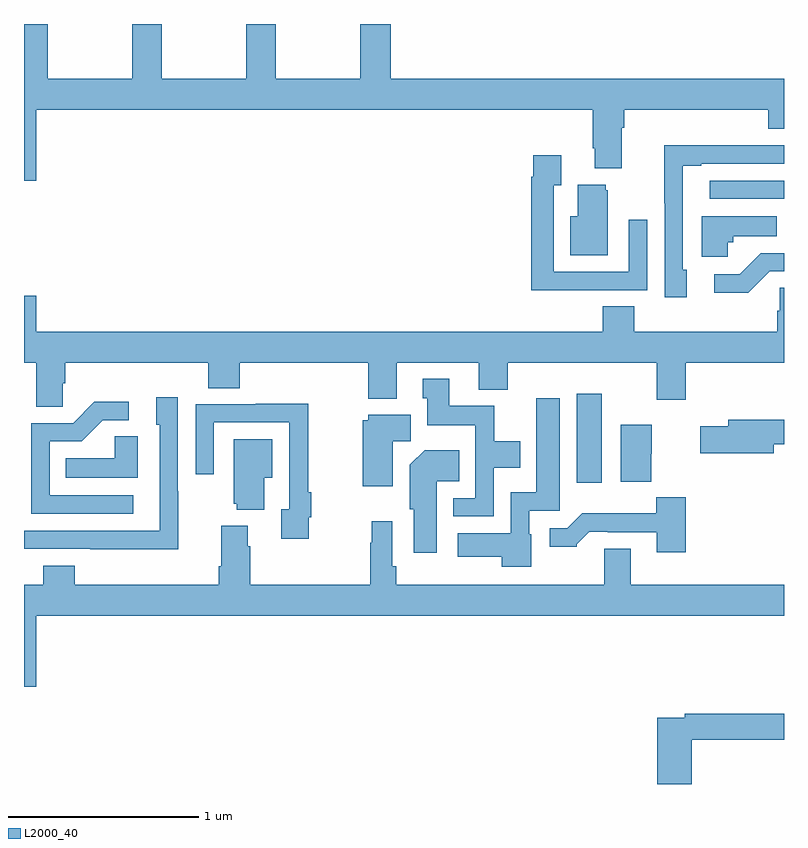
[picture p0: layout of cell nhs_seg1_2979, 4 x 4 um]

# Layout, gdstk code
import gdstk
lib = gdstk.Library(unit=1e-6, precision=1e-09)
def R(c, l, rs):  # rectangles x0, y0, x1, y1
    for r in rs: c.add(gdstk.rectangle(r[:2], r[2:], *l))
def P(c, l, *ps):  # polygons
    for p in ps: c.add(gdstk.Polygon(p, *l))
L2000_40 = (2000, 40)

nhs_seg1_2979 = lib.new_cell('nhs_seg1_2979')
R(nhs_seg1_2979, L2000_40, [(275.909,533.784,276.04,534.253), (276.609,535.278,277,535.374)])
P(nhs_seg1_2979, L2000_40, [(273.064,535.748),(275.993,535.748),(275.993,535.546),(276.005,535.546),(276.005,535.439),(276.145,535.439),(276.145,535.652),(276.158,535.652),(276.158,535.748),(276.917,535.748),(276.917,535.649),(277,535.649),(277,535.912),(274.931,535.912),(274.931,536.199),(274.771,536.199),(274.771,535.912),(274.326,535.912),(274.326,536.199),(274.171,536.199),(274.171,535.912),(273.726,535.912),(273.726,536.199),(273.571,536.199),(273.571,535.912),(273.126,535.912),(273.126,536.199),(273,536.199),(273,535.374),(273.064,535.374)],
  [(276.487,534.906),(276.468,534.906),(276.468,535.452),(276.565,535.452),(276.565,535.464),(277,535.464),(277,535.56),(276.833,535.56),(276.833,535.562),(276.37,535.562),(276.37,535.255),(276.372,535.255),(276.372,534.762),(276.487,534.762)],
  [(275.963,534.798),(276.279,534.798),(276.279,535.168),(276.183,535.168),(276.183,534.894),(275.787,534.894),(275.787,535.351),(275.827,535.351),(275.827,535.507),(275.679,535.507),(275.679,535.394),(275.671,535.394),(275.671,534.797),(275.963,534.797)],
  [(276.073,535.323),(276.062,535.323),(276.062,535.354),(275.915,535.354),(275.915,535.186),(275.876,535.186),(275.876,534.983),(276.073,534.983)],
  [(276.705,535.05),(276.732,535.05),(276.732,535.082),(276.962,535.082),(276.962,535.186),(276.566,535.186),(276.566,534.974),(276.705,534.974)],
  [(276.924,534.897),(277,534.897),(277,534.993),(276.878,534.993),(276.767,534.882),(276.633,534.882),(276.633,534.785),(276.811,534.785)],
  [(273.064,534.769),(273,534.769),(273,534.416),(273.065,534.416),(273.065,534.184),(273.204,534.184),(273.204,534.307),(273.218,534.307),(273.218,534.416),(273.971,534.416),(273.971,534.283),(274.136,534.283),(274.136,534.416),(274.811,534.416),(274.811,534.227),(274.963,534.227),(274.963,534.416),(275.393,534.416),(275.393,534.275),(275.546,534.275),(275.546,534.416),(276.329,534.416),(276.329,534.222),(276.482,534.222),(276.482,534.416),(277,534.416),(277,534.812),(276.978,534.812),(276.978,534.689),(276.965,534.689),(276.965,534.58),(276.212,534.58),(276.212,534.713),(276.047,534.713),(276.047,534.58),(273.064,534.58)],
  [(275.472,533.864),(275.611,533.864),(275.611,534.004),(275.475,534.004),(275.475,534.19),(275.239,534.19),(275.239,534.331),(275.099,534.331),(275.099,534.228),(275.123,534.228),(275.123,534.086),(275.376,534.086),(275.376,533.703),(275.259,533.703),(275.259,533.607),(275.472,533.607)],
  [(273.813,533.741),(273.81,533.741),(273.81,534.235),(273.695,534.235),(273.695,534.09),(273.714,534.09),(273.714,533.532),(273,533.532),(273,533.436),(273.349,533.436),(273.349,533.435),(273.813,533.435)],
  [(275.671,533.514),(275.658,533.514),(275.658,533.637),(275.821,533.637),(275.821,534.229),(275.696,534.229),(275.696,533.734),(275.562,533.734),(275.562,533.518),(275.283,533.518),(275.283,533.396),(275.515,533.396),(275.515,533.342),(275.671,533.342)],
  [(273.574,533.718),(273.135,533.718),(273.135,534.003),(273.304,534.003),(273.415,534.114),(273.55,534.114),(273.55,534.212),(273.371,534.212),(273.258,534.099),(273.039,534.099),(273.039,533.622),(273.574,533.622)],
  [(274.499,533.602),(274.511,533.602),(274.511,533.734),(274.496,533.734),(274.496,534.2),(274.219,534.2),(274.219,534.198),(273.903,534.198),(273.903,533.829),(273.999,533.829),(273.999,534.102),(274.395,534.102),(274.395,533.646),(274.355,533.646),(274.355,533.49),(274.499,533.49)],
  [(274.942,534.004),(275.035,534.004),(275.035,534.142),(274.812,534.142),(274.812,534.114),(274.784,534.114),(274.784,533.766),(274.942,533.766)],
  [(276.946,533.986),(277,533.986),(277,534.115),(276.707,534.115),(276.707,534.081),(276.558,534.081),(276.558,533.939),(276.946,533.939)],
  [(276.302,533.937),(276.304,533.937),(276.304,534.091),(276.14,534.091),(276.14,533.789),(276.302,533.789)],
  [(273.598,534.029),(273.477,534.029),(273.477,533.914),(273.22,533.914),(273.22,533.81),(273.598,533.81)],
  [(274.264,533.81),(274.306,533.81),(274.306,534.013),(274.103,534.013),(274.103,533.673),(274.121,533.673),(274.121,533.642),(274.264,533.642)],
  [(275.173,533.792),(275.291,533.792),(275.291,533.956),(275.108,533.956),(275.03,533.878),(275.03,533.646),(275.051,533.646),(275.051,533.415),(275.173,533.415)],
  [(276.482,533.707),(276.327,533.707),(276.327,533.623),(275.938,533.623),(275.859,533.544),(275.766,533.544),(275.766,533.447),(275.91,533.447),(275.91,533.462),(275.974,533.526),(276.073,533.526),(276.073,533.523),(276.329,533.523),(276.329,533.418),(276.482,533.418)],
  [(277,533.248),(276.193,533.248),(276.193,533.438),(276.053,533.438),(276.053,533.248),(274.958,533.248),(274.958,533.344),(274.938,533.344),(274.938,533.581),(274.83,533.581),(274.83,533.468),(274.822,533.468),(274.822,533.248),(274.19,533.248),(274.19,533.45),(274.177,533.45),(274.177,533.557),(274.037,533.557),(274.037,533.344),(274.025,533.344),(274.025,533.248),(273.266,533.248),(273.266,533.347),(273.101,533.347),(273.101,533.248),(273,533.248),(273,532.71),(273.064,532.71),(273.064,533.084),(277,533.084)],
  [(276.515,532.432),(277,532.432),(277,532.568),(276.478,532.568),(276.478,532.548),(276.332,532.548),(276.332,532.199),(276.515,532.199)])

lib.write_gds('nhs_seg1_2979.gds')
